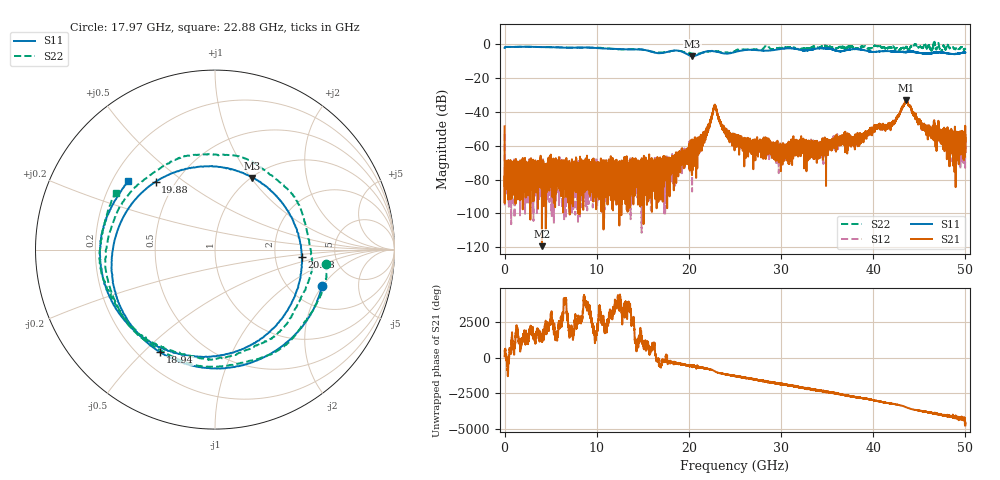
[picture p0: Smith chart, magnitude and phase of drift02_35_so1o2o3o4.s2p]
!Created with skrf (http://scikit-rf.org).
# Hz S RI R 50.0
!freq ReS11 ImS11 ReS21 ImS21 ReS12 ImS12 ReS22 ImS22
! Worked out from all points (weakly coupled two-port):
!   10001 points, 300 kHz to 50 GHz, reference 50 ohm
!   highest |S21| = -32.81 dB at 43.61 GHz (marker M1); lowest = -119.4 dB at 4.05 GHz (marker M2)
!   lowest |S11| = -6.9 dB at 20.38 GHz (marker M3), VSWR 2.64, Z = 50.7 + j50.8 ohm
!   |S11| at or under -10 dB: nowhere
!   |S22| runs from -5.7 to 2.4 dB; largest |S21 - S12| = 0.0042
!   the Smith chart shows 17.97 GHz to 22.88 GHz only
!   S11 on the Smith chart (normalised r, x): 17.97 GHz: 2.96, -1.99; 18.94 GHz: 0.29, -0.56; 19.88 GHz: 0.39, +0.39; 20.88 GHz: 2.85, -0.32; 22.88 GHz: 0.26, +0.33
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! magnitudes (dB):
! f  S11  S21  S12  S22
! 300 kHz  -2.1  -48.4  -52.8  -2.1
! 260.3 MHz  -1.4  -73.3  -77.0  -1.4
! 4.05 GHz  -1.6  -119.4  -75.2  -1.6
! 8.335 GHz  -1.7  -82.5  -83.4  -1.9
! 16.67 GHz  -5.2  -73.7  -70.7  -4.7
! 17.97 GHz  -4.0  -76.4  -70.5  -4.1
! 18.94 GHz  -3.8  -72.6  -68.4  -3.9
! 19.88 GHz  -6.0  -62.3  -64.3  -5.1
! 20.38 GHz  -6.9  -62.6  -60.3  -5.5
! 20.88 GHz  -6.3  -56.4  -61.6  -5.6
! 21.84 GHz  -4.2  -51.4  -52.5  -4.2
! 22.88 GHz  -4.2  -36.2  -36.5  -3.9
! 23.76 GHz  -5.3  -49.1  -49.4  -4.6
! 25 GHz  -4.5  -56.0  -56.3  -3.9
! 29.7 GHz  -2.9  -67.0  -61.9  -2.1
! 33.34 GHz  -3.0  -63.7  -62.2  -1.5
! 38 GHz  -2.8  -60.5  -59.5  -2.1
! 41.67 GHz  -4.0  -48.1  -48.4  -1.9
! 43.61 GHz  -4.3  -32.8  -33.4  -1.5
! 45.79 GHz  -5.3  -51.3  -51.5  -2.3
! 48.51 GHz  -5.6  -61.7  -59.4  -1.6
! 50 GHz  -4.7  -53.6  -56.9  -2.6
